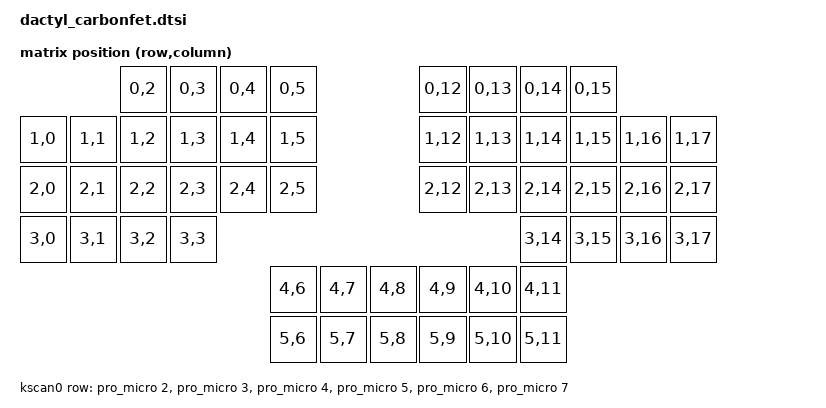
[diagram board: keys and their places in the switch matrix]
#include <dt-bindings/zmk/matrix_transform.h>

/ {
    chosen {
        zmk,kscan = &kscan0;
        zmk,matrix-transform = &default_transform;
    };

    default_transform: keymap_transform_0 {
        compatible = "zmk,matrix-transform";
        columns = <18>;
        rows = <6>;
//               | SW1  | SW2  | SW3  | SW4  |                                                |  SW4 |  SW3 |  SW2 |  SW1 |
// | SW5  | SW6  | SW7  | SW8  | SW9  | SW10 |                                                | SW10 |  SW9 |  SW8 |  SW7 |  SW6 |  SW5 |
// | SW11 | SW12 | SW13 | SW14 | SW15 | SW16 |                                                | SW16 | SW15 | SW14 | SW13 | SW12 | SW11 |
// | SW17 | SW18 | SW19 | SW20 |                                                                            | SW20 | SW19 | SW18 | SW17 |
//                                           | SW21 | SW22 | SW23 |      | SW23 | SW22 | SW21 |
//                                           | SW24 | SW25 | SW26 |      | SW26 | SW25 | SW24 |

        map = <
                RC(0,2) RC(0,3) RC(0,4) RC(0,5)                                                   RC(0,12) RC(0,13) RC(0,14) RC(0,15)
RC(1,0) RC(1,1) RC(1,2) RC(1,3) RC(1,4) RC(1,5)                                                   RC(1,12) RC(1,13) RC(1,14) RC(1,15) RC(1,16) RC(1,17)
RC(2,0) RC(2,1) RC(2,2) RC(2,3) RC(2,4) RC(2,5)                                                   RC(2,12) RC(2,13) RC(2,14) RC(2,15) RC(2,16) RC(2,17)
RC(3,0) RC(3,1) RC(3,2) RC(3,3)                                                                                     RC(3,14) RC(3,15) RC(3,16) RC(3,17)
                                                RC(4,6) RC(4,7) RC(4,8) RC(4,9) RC(4,10) RC(4,11)
                                                RC(5,6) RC(5,7) RC(5,8) RC(5,9) RC(5,10) RC(5,11)
        >;
    };

    kscan0: kscan {
        compatible = "zmk,kscan-gpio-matrix";

        diode-direction = "col2row";
        row-gpios
            = <&pro_micro 2 (GPIO_ACTIVE_HIGH | GPIO_PULL_DOWN)>
            , <&pro_micro 3 (GPIO_ACTIVE_HIGH | GPIO_PULL_DOWN)>
            , <&pro_micro 4 (GPIO_ACTIVE_HIGH | GPIO_PULL_DOWN)>
            , <&pro_micro 5 (GPIO_ACTIVE_HIGH | GPIO_PULL_DOWN)>
            , <&pro_micro 6 (GPIO_ACTIVE_HIGH | GPIO_PULL_DOWN)>
            , <&pro_micro 7 (GPIO_ACTIVE_HIGH | GPIO_PULL_DOWN)>
            ;
    };
};
